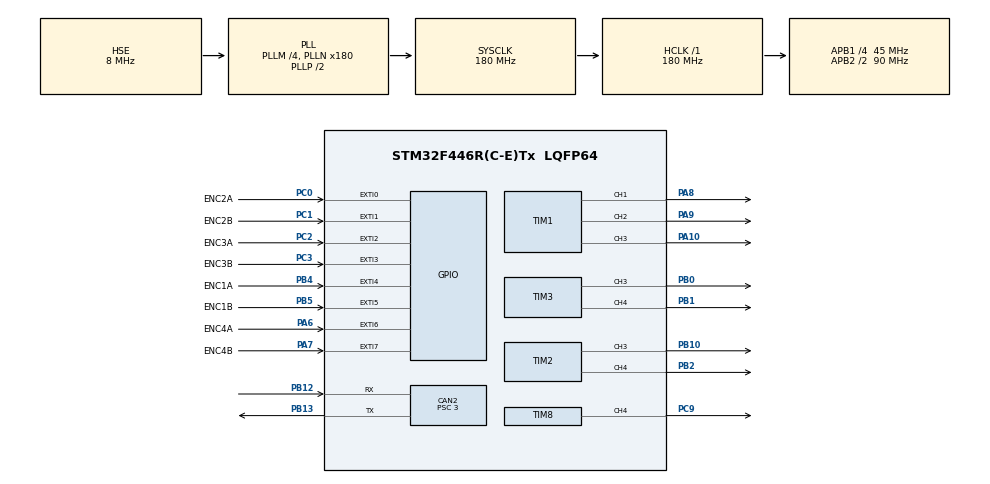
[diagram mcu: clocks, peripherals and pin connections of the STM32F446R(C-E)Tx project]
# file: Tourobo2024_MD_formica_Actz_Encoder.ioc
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CAN2.BS1=CAN_BS1_12TQ
CAN2.BS2=CAN_BS2_2TQ
CAN2.CalculateBaudRate=1000000
CAN2.CalculateTimeBit=1000
CAN2.CalculateTimeQuantum=66.66666666666666
CAN2.Prescaler=3
Mcu.Family=STM32F4
Mcu.Name=STM32F446R(C-E)Tx
Mcu.Package=LQFP64
NVIC.CAN2_RX0_IRQn=true\:0\:0\:false\:false\:true\:true\:true\:true
NVIC.EXTI0_IRQn=true\:0\:0\:false\:false\:true\:true\:true\:true
NVIC.EXTI1_IRQn=true\:0\:0\:false\:false\:true\:true\:true\:true
NVIC.EXTI2_IRQn=true\:0\:0\:false\:false\:true\:true\:true\:true
NVIC.EXTI3_IRQn=true\:0\:0\:false\:false\:true\:true\:true\:true
NVIC.EXTI4_IRQn=true\:0\:0\:false\:false\:true\:true\:true\:true
NVIC.EXTI9_5_IRQn=true\:0\:0\:false\:false\:true\:true\:true\:true
NVIC.PriorityGroup=NVIC_PRIORITYGROUP_4
NVIC.TIM4_IRQn=true\:0\:0\:false\:false\:true\:true\:true\:true
NVIC.TIM5_IRQn=true\:1\:0\:true\:false\:true\:true\:true\:true
PA10.Signal=S_TIM1_CH3
PA13.Mode=Trace_Asynchronous_SW
PA13.Signal=SYS_JTMS-SWDIO
PA14.Mode=Trace_Asynchronous_SW
PA14.Signal=SYS_JTCK-SWCLK
PA6.GPIO_Label=ENC4A
PA6.GPIO_ModeDefaultEXTI=GPIO_MODE_IT_RISING_FALLING
PA6.Signal=GPXTI6
PA7.GPIO_Label=ENC4B
PA7.GPIO_ModeDefaultEXTI=GPIO_MODE_IT_RISING_FALLING
PA7.Signal=GPXTI7
PA8.Signal=S_TIM1_CH1
PA9.Signal=S_TIM1_CH2
PB0.Signal=S_TIM3_CH3
PB1.Signal=S_TIM3_CH4
PB10.Signal=S_TIM2_CH3
PB12.Mode=CAN_Activate
PB12.Signal=CAN2_RX
PB13.Mode=CAN_Activate
PB13.Signal=CAN2_TX
PB2.Signal=S_TIM2_CH4
PB3.Mode=Trace_Asynchronous_SW
PB3.Signal=SYS_JTDO-SWO
PB4.GPIO_Label=ENC1A
PB4.GPIO_ModeDefaultEXTI=GPIO_MODE_IT_RISING_FALLING
PB4.Signal=GPXTI4
PB5.GPIO_Label=ENC1B
PB5.GPIO_ModeDefaultEXTI=GPIO_MODE_IT_RISING_FALLING
PB5.Signal=GPXTI5
PC0.GPIO_Label=ENC2A
PC0.GPIO_ModeDefaultEXTI=GPIO_MODE_IT_RISING_FALLING
PC0.Signal=GPXTI0
PC1.GPIO_Label=ENC2B
PC1.GPIO_ModeDefaultEXTI=GPIO_MODE_IT_RISING_FALLING
PC1.Signal=GPXTI1
PC2.GPIO_Label=ENC3A
PC2.GPIO_ModeDefaultEXTI=GPIO_MODE_IT_RISING_FALLING
PC2.Signal=GPXTI2
PC3.GPIO_Label=ENC3B
PC3.GPIO_ModeDefaultEXTI=GPIO_MODE_IT_RISING_FALLING
PC3.Signal=GPXTI3
PC9.Signal=S_TIM8_CH4
PH0-OSC_IN.Mode=HSE-External-Clock-Source
PH0-OSC_IN.Signal=RCC_OSC_IN
PH1-OSC_OUT.Mode=HSE-External-Clock-Source
PH1-OSC_OUT.Signal=RCC_OSC_OUT
ProjectManager.HeapSize=0x200
ProjectManager.StackSize=0x400
ProjectManager.TargetToolchain=STM32CubeIDE
RCC.AHBFreq_Value=180000000
RCC.APB1CLKDivider=RCC_HCLK_DIV4
RCC.APB1Freq_Value=45000000
RCC.APB1TimFreq_Value=90000000
RCC.APB2CLKDivider=RCC_HCLK_DIV2
RCC.APB2Freq_Value=90000000
RCC.APB2TimFreq_Value=180000000
RCC.CortexFreq_Value=180000000
RCC.HCLKFreq_Value=180000000
RCC.HSE_VALUE=8000000
RCC.PLLM=4
RCC.PLLN=180
RCC.PLLSourceVirtual=RCC_PLLSOURCE_HSE
RCC.SYSCLKFreq_VALUE=180000000
RCC.SYSCLKSource=RCC_SYSCLKSOURCE_PLLCLK
RCC.USBFreq_Value=180000000
RCC.VCOOutputFreq_Value=360000000
SH.S_TIM1_CH1.0=TIM1_CH1,PWM Generation1 CH1
SH.S_TIM1_CH2.0=TIM1_CH2,PWM Generation2 CH2
SH.S_TIM1_CH3.0=TIM1_CH3,PWM Generation3 CH3
SH.S_TIM2_CH3.0=TIM2_CH3,PWM Generation3 CH3
SH.S_TIM2_CH4.0=TIM2_CH4,PWM Generation4 CH4
SH.S_TIM3_CH3.0=TIM3_CH3,PWM Generation3 CH3
SH.S_TIM3_CH4.0=TIM3_CH4,PWM Generation4 CH4
SH.S_TIM8_CH4.0=TIM8_CH4,PWM Generation4 CH4
TIM1.Channel-PWM\ Generation1\ CH1=TIM_CHANNEL_1
TIM1.Channel-PWM\ Generation2\ CH2=TIM_CHANNEL_2
TIM1.Channel-PWM\ Generation3\ CH3=TIM_CHANNEL_3
TIM1.OCFastMode_PWM-PWM\ Generation3\ CH3=TIM_OCFAST_DISABLE
TIM2.Channel-PWM\ Generation3\ CH3=TIM_CHANNEL_3
TIM2.Channel-PWM\ Generation4\ CH4=TIM_CHANNEL_4
TIM3.Channel-PWM\ Generation3\ CH3=TIM_CHANNEL_3
TIM3.Channel-PWM\ Generation4\ CH4=TIM_CHANNEL_4
TIM4.AutoReloadPreload=TIM_AUTORELOAD_PRELOAD_ENABLE
TIM4.Period=999
TIM4.Prescaler=89
TIM5.Period=1000
TIM5.Prescaler=900
TIM8.Channel-PWM\ Generation4\ CH4=TIM_CHANNEL_4
VP_TIM1_VS_ClockSourceINT.Mode=Internal
VP_TIM2_VS_ClockSourceINT.Mode=Internal
VP_TIM3_VS_ClockSourceINT.Mode=Internal
VP_TIM4_VS_ClockSourceINT.Mode=Internal
VP_TIM5_VS_ClockSourceINT.Mode=Internal
VP_TIM8_VS_ClockSourceINT.Mode=Internal
board=custom

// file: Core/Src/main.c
/* USER CODE BEGIN Header */
/**苗アー�?をpid制御により動かします�??
 * 初期状態では苗アー�?に取り付けられて�?るエンコー�?ーは0の値を返しますが、苗アー�?展開時�?�50あたりになります�??
 * 展開したり�?�収納したりするのでそれに対応できるようにします�??
  ******************************************************************************
  * @file           : main.c
  * @brief          : Main program body
  ******************************************************************************
  * @attention
  *
  * Copyright (c) 2024 STMicroelectronics.
  * All rights reserved.
  *
  * This software is licensed under terms that can be found in the LICENSE file
  * in the root directory of this software component.
  * If no LICENSE file comes with this software, it is provided AS-IS.
  *
  ******************************************************************************
  */
/* USER CODE END Header */
#include "main.h"

/* USER CODE BEGIN Includes */
#include "math.h"
#include "string.h"
/* USER CODE END Includes */

/* USER CODE BEGIN PD */
#define PREV_MASK 0x1u //Mask for the previous state in determining direction of rotation.
#define CURR_MASK 0x2u //Mask for the current state in determining direction of rotation.
#define INVALID   0x3u //XORing two states where both bits have changed.
#define PULSE_PER_REV 8192.f
#define DELTA_T 0.01
/* USER CODE END PD */

CAN_HandleTypeDef hcan2;

TIM_HandleTypeDef htim1;
TIM_HandleTypeDef htim2;
TIM_HandleTypeDef htim3;
TIM_HandleTypeDef htim4;
TIM_HandleTypeDef htim5;
TIM_HandleTypeDef htim8;

/* USER CODE BEGIN PV */
int state_prev[4] = {};
int state_curr[4] = {};
int pulse_count[4] = {};
float prev_angle[4] = {};
float angle[4] = {};
float deg_per_second[4] = {};
float rpm_float[4] = {0};
int16_t rpm[4] = {0};

/*yodai add*/
float e=0;/*pid関�?*/
float de=0;
float ie=0;
float u=0;
float y = 0;
float r = 50;
float e_pre = 0;
float T = 0.0001;

float pwm1R=0;
float pwm1L=0;

//PinConfiguration
GPIO_TypeDef* encoder_ports[4][2] = {{ENC1A_GPIO_Port, ENC1B_GPIO_Port},
									 {ENC2A_GPIO_Port, ENC2B_GPIO_Port},
									 {ENC3A_GPIO_Port, ENC3B_GPIO_Port},
									 {ENC4A_GPIO_Port, ENC4B_GPIO_Port}};
uint16_t encoder_pins[4][2] = {{ENC1A_Pin, ENC1B_Pin},
							   {ENC2A_Pin, ENC2B_Pin},
							   {ENC3A_Pin, ENC3B_Pin},
							   {ENC4A_Pin, ENC4B_Pin}};
/* USER CODE END PV */

void SystemClock_Config(void);
static void MX_GPIO_Init(void);
static void MX_CAN2_Init(void);
static void MX_TIM1_Init(void);
static void MX_TIM2_Init(void);
static void MX_TIM3_Init(void);
static void MX_TIM4_Init(void);
static void MX_TIM8_Init(void);
static void MX_TIM5_Init(void);
/* USER CODE BEGIN PFP */

void HAL_TIM_PeriodElapsedCallback(TIM_HandleTypeDef *htim)
{

	if(htim == &htim5)
	{
		for(int i=0; i<4; i++)
		{
			deg_per_second[i] = (angle[i] - prev_angle[i])/DELTA_T;
			prev_angle[i] = angle[i];

			// deg/s to rpm
			rpm_float[i] = deg_per_second[i] * 60 / 360;
			rpm[i] = (int16_t)rpm_float[i];

			if(0 < HAL_CAN_GetTxMailboxesFreeLevel(&hcan2)) {
				CAN_TxHeaderTypeDef TxHeader;
				TxHeader.IDE = CAN_ID_STD;
				TxHeader.RTR = CAN_RTR_DATA;
				TxHeader.TransmitGlobalTime = DISABLE;
				TxHeader.StdId = 0x400 + i + 1;
				TxHeader.DLC = sizeof(float);

				uint8_t TxData[sizeof(float)];
				memcpy(&TxData[0], &rpm_float[i], sizeof(float));
				CAN_TxMailBox_TypeDef TxMailBox;
				HAL_CAN_AddTxMessage(&hcan2, &TxHeader, &TxData[0], &TxMailBox);
			}
		}
	}
}

/*yodai add*/
void plant_pid(uint8_t rotDirection,float KP,float KI,float KD){//angle[0]�?0�?50でpid制御する.
	y = angle[0];
	e = r - y;
	de = (e - e_pre)/T;
	ie = ie + (e+e_pre)*T/2;
	u = KP*e + KI*ie + KD*de;
	if(u>65535){
		u = 65535;
	}else if(u<-65535){
		u = -65535;
	}
	if(u>0){
		pwm1R = u;
		pwm1L = 0;
	}else{
		pwm1R = 0;
		pwm1L = -1*u;
	}
}

void moveMotor(){/*モーターを動かすプログラ�?*/
	__HAL_TIM_SET_COMPARE(&htim1, TIM_CHANNEL_2, pwm1R*0.5);// duty=x/65535
	__HAL_TIM_SET_COMPARE(&htim1, TIM_CHANNEL_3, pwm1L*0.5);// duty=x/65535
}
/* USER CODE END PFP */

int main(void)
{

  /* MCU Configuration--------------------------------------------------------*/

  /* Reset of all peripherals, Initializes the Flash interface and the Systick. */
  HAL_Init();

  /* Configure the system clock */
  SystemClock_Config();

  /* Initialize all configured peripherals */
  MX_GPIO_Init();
  MX_CAN2_Init();
  MX_TIM1_Init();
  MX_TIM2_Init();
  MX_TIM3_Init();
  MX_TIM4_Init();
  MX_TIM8_Init();
  MX_TIM5_Init();
  /* USER CODE BEGIN 2 */
  HAL_TIM_Base_Start_IT(&htim5);
  HAL_CAN_Start(&hcan2);
  HAL_TIM_PWM_Start(&htim1, TIM_CHANNEL_3);//pwm1L,PA10
  HAL_TIM_PWM_Start(&htim1, TIM_CHANNEL_2);//pwm1R,PA9

  /* USER CODE END 2 */

  /* Infinite loop */
  /* USER CODE BEGIN WHILE */
  while (1)
  {
	  plant_pid(1,1000,2,0);
	  moveMotor();
    /* USER CODE END WHILE */

  }
}

void SystemClock_Config(void)
{
  RCC_OscInitTypeDef RCC_OscInitStruct = {0};
  RCC_ClkInitTypeDef RCC_ClkInitStruct = {0};

  /** Configure the main internal regulator output voltage
  */
  __HAL_RCC_PWR_CLK_ENABLE();
  __HAL_PWR_VOLTAGESCALING_CONFIG(PWR_REGULATOR_VOLTAGE_SCALE1);

  /** Initializes the RCC Oscillators according to the specified parameters
  * in the RCC_OscInitTypeDef structure.
  */
  RCC_OscInitStruct.OscillatorType = RCC_OSCILLATORTYPE_HSE;
  RCC_OscInitStruct.HSEState = RCC_HSE_BYPASS;
  RCC_OscInitStruct.PLL.PLLState = RCC_PLL_ON;
  RCC_OscInitStruct.PLL.PLLSource = RCC_PLLSOURCE_HSE;
  RCC_OscInitStruct.PLL.PLLM = 4;
  RCC_OscInitStruct.PLL.PLLN = 180;
  RCC_OscInitStruct.PLL.PLLP = RCC_PLLP_DIV2;
  RCC_OscInitStruct.PLL.PLLQ = 2;
  RCC_OscInitStruct.PLL.PLLR = 2;
  if (HAL_RCC_OscConfig(&RCC_OscInitStruct) != HAL_OK)
  {
    Error_Handler();
  }

  /** Activate the Over-Drive mode
  */
  if (HAL_PWREx_EnableOverDrive() != HAL_OK)
  {
    Error_Handler();
  }

  /** Initializes the CPU, AHB and APB buses clocks
  */
  RCC_ClkInitStruct.ClockType = RCC_CLOCKTYPE_HCLK|RCC_CLOCKTYPE_SYSCLK
                              |RCC_CLOCKTYPE_PCLK1|RCC_CLOCKTYPE_PCLK2;
  RCC_ClkInitStruct.SYSCLKSource = RCC_SYSCLKSOURCE_PLLCLK;
  RCC_ClkInitStruct.AHBCLKDivider = RCC_SYSCLK_DIV1;
  RCC_ClkInitStruct.APB1CLKDivider = RCC_HCLK_DIV4;
  RCC_ClkInitStruct.APB2CLKDivider = RCC_HCLK_DIV2;

  if (HAL_RCC_ClockConfig(&RCC_ClkInitStruct, FLASH_LATENCY_5) != HAL_OK)
  {
    Error_Handler();
  }
}

static void MX_CAN2_Init(void)
{

  hcan2.Instance = CAN2;
  hcan2.Init.Prescaler = 3;
  hcan2.Init.Mode = CAN_MODE_NORMAL;
  hcan2.Init.SyncJumpWidth = CAN_SJW_1TQ;
  hcan2.Init.TimeSeg1 = CAN_BS1_12TQ;
  hcan2.Init.TimeSeg2 = CAN_BS2_2TQ;
  hcan2.Init.TimeTriggeredMode = DISABLE;
  hcan2.Init.AutoBusOff = DISABLE;
  hcan2.Init.AutoWakeUp = DISABLE;
  hcan2.Init.AutoRetransmission = DISABLE;
  hcan2.Init.ReceiveFifoLocked = DISABLE;
  hcan2.Init.TransmitFifoPriority = DISABLE;
  if (HAL_CAN_Init(&hcan2) != HAL_OK)
  {
    Error_Handler();
  }

}

static void MX_TIM1_Init(void)
{

  TIM_ClockConfigTypeDef sClockSourceConfig = {0};
  TIM_MasterConfigTypeDef sMasterConfig = {0};
  TIM_OC_InitTypeDef sConfigOC = {0};
  TIM_BreakDeadTimeConfigTypeDef sBreakDeadTimeConfig = {0};

  htim1.Instance = TIM1;
  htim1.Init.Prescaler = 0;
  htim1.Init.CounterMode = TIM_COUNTERMODE_UP;
  htim1.Init.Period = 65535;
  htim1.Init.ClockDivision = TIM_CLOCKDIVISION_DIV1;
  htim1.Init.RepetitionCounter = 0;
  htim1.Init.AutoReloadPreload = TIM_AUTORELOAD_PRELOAD_DISABLE;
  if (HAL_TIM_Base_Init(&htim1) != HAL_OK)
  {
    Error_Handler();
  }
  sClockSourceConfig.ClockSource = TIM_CLOCKSOURCE_INTERNAL;
  if (HAL_TIM_ConfigClockSource(&htim1, &sClockSourceConfig) != HAL_OK)
  {
    Error_Handler();
  }
  if (HAL_TIM_PWM_Init(&htim1) != HAL_OK)
  {
    Error_Handler();
  }
  sMasterConfig.MasterOutputTrigger = TIM_TRGO_RESET;
  sMasterConfig.MasterSlaveMode = TIM_MASTERSLAVEMODE_DISABLE;
  if (HAL_TIMEx_MasterConfigSynchronization(&htim1, &sMasterConfig) != HAL_OK)
  {
    Error_Handler();
  }
  sConfigOC.OCMode = TIM_OCMODE_PWM1;
  sConfigOC.Pulse = 0;
  sConfigOC.OCPolarity = TIM_OCPOLARITY_HIGH;
  sConfigOC.OCNPolarity = TIM_OCNPOLARITY_HIGH;
  sConfigOC.OCFastMode = TIM_OCFAST_DISABLE;
  sConfigOC.OCIdleState = TIM_OCIDLESTATE_RESET;
  sConfigOC.OCNIdleState = TIM_OCNIDLESTATE_RESET;
  if (HAL_TIM_PWM_ConfigChannel(&htim1, &sConfigOC, TIM_CHANNEL_1) != HAL_OK)
  {
    Error_Handler();
  }
  if (HAL_TIM_PWM_ConfigChannel(&htim1, &sConfigOC, TIM_CHANNEL_2) != HAL_OK)
  {
    Error_Handler();
  }
  if (HAL_TIM_PWM_ConfigChannel(&htim1, &sConfigOC, TIM_CHANNEL_3) != HAL_OK)
  {
    Error_Handler();
  }
  sBreakDeadTimeConfig.OffStateRunMode = TIM_OSSR_DISABLE;
  sBreakDeadTimeConfig.OffStateIDLEMode = TIM_OSSI_DISABLE;
  sBreakDeadTimeConfig.LockLevel = TIM_LOCKLEVEL_OFF;
  sBreakDeadTimeConfig.DeadTime = 0;
  sBreakDeadTimeConfig.BreakState = TIM_BREAK_DISABLE;
  sBreakDeadTimeConfig.BreakPolarity = TIM_BREAKPOLARITY_HIGH;
  sBreakDeadTimeConfig.AutomaticOutput = TIM_AUTOMATICOUTPUT_DISABLE;
  if (HAL_TIMEx_ConfigBreakDeadTime(&htim1, &sBreakDeadTimeConfig) != HAL_OK)
  {
    Error_Handler();
  }
  HAL_TIM_MspPostInit(&htim1);

}

static void MX_TIM2_Init(void)
{

  TIM_ClockConfigTypeDef sClockSourceConfig = {0};
  TIM_MasterConfigTypeDef sMasterConfig = {0};
  TIM_OC_InitTypeDef sConfigOC = {0};

  htim2.Instance = TIM2;
  htim2.Init.Prescaler = 0;
  htim2.Init.CounterMode = TIM_COUNTERMODE_UP;
  htim2.Init.Period = 4294967295;
  htim2.Init.ClockDivision = TIM_CLOCKDIVISION_DIV1;
  htim2.Init.AutoReloadPreload = TIM_AUTORELOAD_PRELOAD_DISABLE;
  if (HAL_TIM_Base_Init(&htim2) != HAL_OK)
  {
    Error_Handler();
  }
  sClockSourceConfig.ClockSource = TIM_CLOCKSOURCE_INTERNAL;
  if (HAL_TIM_ConfigClockSource(&htim2, &sClockSourceConfig) != HAL_OK)
  {
    Error_Handler();
  }
  if (HAL_TIM_PWM_Init(&htim2) != HAL_OK)
  {
    Error_Handler();
  }
  sMasterConfig.MasterOutputTrigger = TIM_TRGO_RESET;
  sMasterConfig.MasterSlaveMode = TIM_MASTERSLAVEMODE_DISABLE;
  if (HAL_TIMEx_MasterConfigSynchronization(&htim2, &sMasterConfig) != HAL_OK)
  {
    Error_Handler();
  }
  sConfigOC.OCMode = TIM_OCMODE_PWM1;
  sConfigOC.Pulse = 0;
  sConfigOC.OCPolarity = TIM_OCPOLARITY_HIGH;
  sConfigOC.OCFastMode = TIM_OCFAST_DISABLE;
  if (HAL_TIM_PWM_ConfigChannel(&htim2, &sConfigOC, TIM_CHANNEL_3) != HAL_OK)
  {
    Error_Handler();
  }
  if (HAL_TIM_PWM_ConfigChannel(&htim2, &sConfigOC, TIM_CHANNEL_4) != HAL_OK)
  {
    Error_Handler();
  }
  HAL_TIM_MspPostInit(&htim2);

}

static void MX_TIM3_Init(void)
{

  TIM_ClockConfigTypeDef sClockSourceConfig = {0};
  TIM_MasterConfigTypeDef sMasterConfig = {0};
  TIM_OC_InitTypeDef sConfigOC = {0};

  htim3.Instance = TIM3;
  htim3.Init.Prescaler = 0;
  htim3.Init.CounterMode = TIM_COUNTERMODE_UP;
  htim3.Init.Period = 65535;
  htim3.Init.ClockDivision = TIM_CLOCKDIVISION_DIV1;
  htim3.Init.AutoReloadPreload = TIM_AUTORELOAD_PRELOAD_DISABLE;
  if (HAL_TIM_Base_Init(&htim3) != HAL_OK)
  {
    Error_Handler();
  }
  sClockSourceConfig.ClockSource = TIM_CLOCKSOURCE_INTERNAL;
  if (HAL_TIM_ConfigClockSource(&htim3, &sClockSourceConfig) != HAL_OK)
  {
    Error_Handler();
  }
  if (HAL_TIM_PWM_Init(&htim3) != HAL_OK)
  {
    Error_Handler();
  }
  sMasterConfig.MasterOutputTrigger = TIM_TRGO_RESET;
  sMasterConfig.MasterSlaveMode = TIM_MASTERSLAVEMODE_DISABLE;
  if (HAL_TIMEx_MasterConfigSynchronization(&htim3, &sMasterConfig) != HAL_OK)
  {
    Error_Handler();
  }
  sConfigOC.OCMode = TIM_OCMODE_PWM1;
  sConfigOC.Pulse = 0;
  sConfigOC.OCPolarity = TIM_OCPOLARITY_HIGH;
  sConfigOC.OCFastMode = TIM_OCFAST_DISABLE;
  if (HAL_TIM_PWM_ConfigChannel(&htim3, &sConfigOC, TIM_CHANNEL_3) != HAL_OK)
  {
    Error_Handler();
  }
  if (HAL_TIM_PWM_ConfigChannel(&htim3, &sConfigOC, TIM_CHANNEL_4) != HAL_OK)
  {
    Error_Handler();
  }
  HAL_TIM_MspPostInit(&htim3);

}

static void MX_TIM4_Init(void)
{

  TIM_ClockConfigTypeDef sClockSourceConfig = {0};
  TIM_MasterConfigTypeDef sMasterConfig = {0};

  htim4.Instance = TIM4;
  htim4.Init.Prescaler = 89;
  htim4.Init.CounterMode = TIM_COUNTERMODE_UP;
  htim4.Init.Period = 999;
  htim4.Init.ClockDivision = TIM_CLOCKDIVISION_DIV1;
  htim4.Init.AutoReloadPreload = TIM_AUTORELOAD_PRELOAD_ENABLE;
  if (HAL_TIM_Base_Init(&htim4) != HAL_OK)
  {
    Error_Handler();
  }
  sClockSourceConfig.ClockSource = TIM_CLOCKSOURCE_INTERNAL;
  if (HAL_TIM_ConfigClockSource(&htim4, &sClockSourceConfig) != HAL_OK)
  {
    Error_Handler();
  }
  sMasterConfig.MasterOutputTrigger = TIM_TRGO_RESET;
  sMasterConfig.MasterSlaveMode = TIM_MASTERSLAVEMODE_DISABLE;
  if (HAL_TIMEx_MasterConfigSynchronization(&htim4, &sMasterConfig) != HAL_OK)
  {
    Error_Handler();
  }

}

static void MX_TIM5_Init(void)
{

  TIM_ClockConfigTypeDef sClockSourceConfig = {0};
  TIM_MasterConfigTypeDef sMasterConfig = {0};

  htim5.Instance = TIM5;
  htim5.Init.Prescaler = 900;
  htim5.Init.CounterMode = TIM_COUNTERMODE_UP;
  htim5.Init.Period = 1000;
  htim5.Init.ClockDivision = TIM_CLOCKDIVISION_DIV1;
  htim5.Init.AutoReloadPreload = TIM_AUTORELOAD_PRELOAD_DISABLE;
  if (HAL_TIM_Base_Init(&htim5) != HAL_OK)
  {
    Error_Handler();
  }
  sClockSourceConfig.ClockSource = TIM_CLOCKSOURCE_INTERNAL;
  if (HAL_TIM_ConfigClockSource(&htim5, &sClockSourceConfig) != HAL_OK)
  {
    Error_Handler();
  }
  sMasterConfig.MasterOutputTrigger = TIM_TRGO_RESET;
  sMasterConfig.MasterSlaveMode = TIM_MASTERSLAVEMODE_DISABLE;
  if (HAL_TIMEx_MasterConfigSynchronization(&htim5, &sMasterConfig) != HAL_OK)
  {
    Error_Handler();
  }

}

static void MX_TIM8_Init(void)
{

  TIM_ClockConfigTypeDef sClockSourceConfig = {0};
  TIM_MasterConfigTypeDef sMasterConfig = {0};
  TIM_OC_InitTypeDef sConfigOC = {0};
  TIM_BreakDeadTimeConfigTypeDef sBreakDeadTimeConfig = {0};

  htim8.Instance = TIM8;
  htim8.Init.Prescaler = 0;
  htim8.Init.CounterMode = TIM_COUNTERMODE_UP;
  htim8.Init.Period = 65535;
  htim8.Init.ClockDivision = TIM_CLOCKDIVISION_DIV1;
  htim8.Init.RepetitionCounter = 0;
  htim8.Init.AutoReloadPreload = TIM_AUTORELOAD_PRELOAD_DISABLE;
  if (HAL_TIM_Base_Init(&htim8) != HAL_OK)
  {
    Error_Handler();
  }
  sClockSourceConfig.ClockSource = TIM_CLOCKSOURCE_INTERNAL;
  if (HAL_TIM_ConfigClockSource(&htim8, &sClockSourceConfig) != HAL_OK)
  {
    Error_Handler();
  }
  if (HAL_TIM_PWM_Init(&htim8) != HAL_OK)
  {
    Error_Handler();
  }
  sMasterConfig.MasterOutputTrigger = TIM_TRGO_RESET;
  sMasterConfig.MasterSlaveMode = TIM_MASTERSLAVEMODE_DISABLE;
  if (HAL_TIMEx_MasterConfigSynchronization(&htim8, &sMasterConfig) != HAL_OK)
  {
    Error_Handler();
  }
  sConfigOC.OCMode = TIM_OCMODE_PWM1;
  sConfigOC.Pulse = 0;
  sConfigOC.OCPolarity = TIM_OCPOLARITY_HIGH;
  sConfigOC.OCFastMode = TIM_OCFAST_DISABLE;
  sConfigOC.OCIdleState = TIM_OCIDLESTATE_RESET;
  sConfigOC.OCNIdleState = TIM_OCNIDLESTATE_RESET;
  if (HAL_TIM_PWM_ConfigChannel(&htim8, &sConfigOC, TIM_CHANNEL_4) != HAL_OK)
  {
    Error_Handler();
  }
  sBreakDeadTimeConfig.OffStateRunMode = TIM_OSSR_DISABLE;
  sBreakDeadTimeConfig.OffStateIDLEMode = TIM_OSSI_DISABLE;
  sBreakDeadTimeConfig.LockLevel = TIM_LOCKLEVEL_OFF;
  sBreakDeadTimeConfig.DeadTime = 0;
  sBreakDeadTimeConfig.BreakState = TIM_BREAK_DISABLE;
  sBreakDeadTimeConfig.BreakPolarity = TIM_BREAKPOLARITY_HIGH;
  sBreakDeadTimeConfig.AutomaticOutput = TIM_AUTOMATICOUTPUT_DISABLE;
  if (HAL_TIMEx_ConfigBreakDeadTime(&htim8, &sBreakDeadTimeConfig) != HAL_OK)
  {
    Error_Handler();
  }
  HAL_TIM_MspPostInit(&htim8);

}

static void MX_GPIO_Init(void)
{
  GPIO_InitTypeDef GPIO_InitStruct = {0};

  /* GPIO Ports Clock Enable */
  __HAL_RCC_GPIOH_CLK_ENABLE();
  __HAL_RCC_GPIOC_CLK_ENABLE();
  __HAL_RCC_GPIOA_CLK_ENABLE();
  __HAL_RCC_GPIOB_CLK_ENABLE();

  /*Configure GPIO pins : ENC2A_Pin ENC2B_Pin ENC3A_Pin ENC3B_Pin */
  GPIO_InitStruct.Pin = ENC2A_Pin|ENC2B_Pin|ENC3A_Pin|ENC3B_Pin;
  GPIO_InitStruct.Mode = GPIO_MODE_IT_RISING_FALLING;
  GPIO_InitStruct.Pull = GPIO_NOPULL;
  HAL_GPIO_Init(GPIOC, &GPIO_InitStruct);

  /*Configure GPIO pins : ENC4A_Pin ENC4B_Pin */
  GPIO_InitStruct.Pin = ENC4A_Pin|ENC4B_Pin;
  GPIO_InitStruct.Mode = GPIO_MODE_IT_RISING_FALLING;
  GPIO_InitStruct.Pull = GPIO_NOPULL;
  HAL_GPIO_Init(GPIOA, &GPIO_InitStruct);

  /*Configure GPIO pins : ENC1A_Pin ENC1B_Pin */
  GPIO_InitStruct.Pin = ENC1A_Pin|ENC1B_Pin;
  GPIO_InitStruct.Mode = GPIO_MODE_IT_RISING_FALLING;
  GPIO_InitStruct.Pull = GPIO_NOPULL;
  HAL_GPIO_Init(GPIOB, &GPIO_InitStruct);

  /* EXTI interrupt init*/
  HAL_NVIC_SetPriority(EXTI0_IRQn, 0, 0);
  HAL_NVIC_EnableIRQ(EXTI0_IRQn);

  HAL_NVIC_SetPriority(EXTI1_IRQn, 0, 0);
  HAL_NVIC_EnableIRQ(EXTI1_IRQn);

  HAL_NVIC_SetPriority(EXTI2_IRQn, 0, 0);
  HAL_NVIC_EnableIRQ(EXTI2_IRQn);

  HAL_NVIC_SetPriority(EXTI3_IRQn, 0, 0);
  HAL_NVIC_EnableIRQ(EXTI3_IRQn);

  HAL_NVIC_SetPriority(EXTI4_IRQn, 0, 0);
  HAL_NVIC_EnableIRQ(EXTI4_IRQn);

  HAL_NVIC_SetPriority(EXTI9_5_IRQn, 0, 0);
  HAL_NVIC_EnableIRQ(EXTI9_5_IRQn);

}

/* USER CODE BEGIN 4 */
void HAL_GPIO_EXTI_Callback(uint16_t GPIO_Pin)
{
    for (uint8_t i = 0; i < 4; i++)
    {
    	for(uint8_t j = 0; j < 2; j++)
    	{
    		if (GPIO_Pin == encoder_pins[i][j])
    		{
					int change = 0;

					state_curr[i] = (HAL_GPIO_ReadPin(encoder_ports[i][0], encoder_pins[i][0]) << 1) |
									 HAL_GPIO_ReadPin(encoder_ports[i][1], encoder_pins[i][1]);
					if (((state_curr[i] ^ state_prev[i]) != INVALID) && (state_curr[i] != state_prev[i]))
					{
						change = (state_prev[i] & PREV_MASK) ^ ((state_curr[i] & CURR_MASK) >> 1);
						if (change == 0)
						{
							change = -1;
						}
						pulse_count[i] -= change;
					}
					angle[i] = (360 / PULSE_PER_REV)*pulse_count[i];
					state_prev[i] = state_curr[i];
					return;
    		}
    	}
    }
}
/* USER CODE END 4 */

void Error_Handler(void)
{
  __disable_irq();
  while (1)
  {
  }
}
